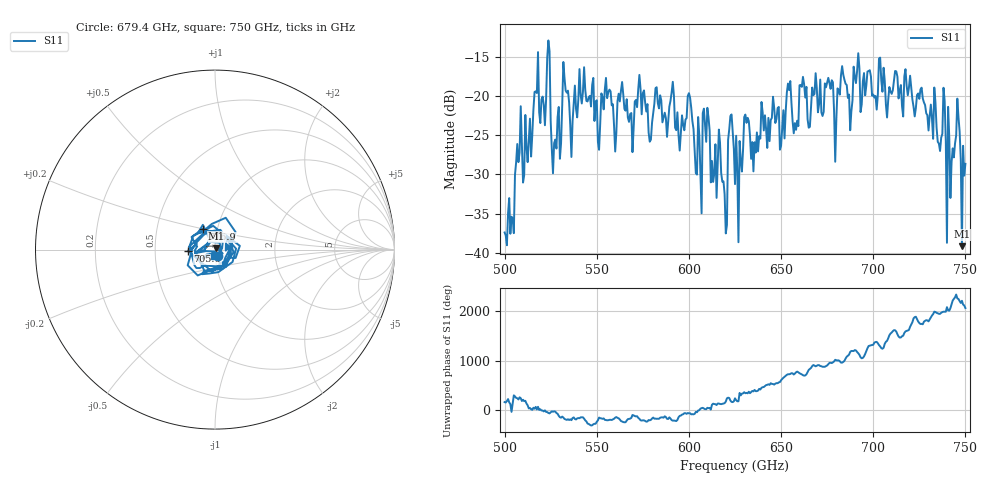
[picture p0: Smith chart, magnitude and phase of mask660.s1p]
!Created with skrf (http://scikit-rf.org).
# GHz S MA R 50.0
!freq magS11 angS11
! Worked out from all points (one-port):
!   401 points, 500 GHz to 750 GHz, reference 50 ohm
!   lowest |S11| = -39.1 dB at 748.1 GHz (marker M1), VSWR 1.02, Z = 50.7 + j0.847 ohm
!   |S11| at or under -10 dB: start of sweep to end of sweep
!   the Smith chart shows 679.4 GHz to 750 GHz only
!   S11 on the Smith chart (normalised r, x): 679.4 GHz: 1.04, -0.07; 705.6 GHz: 0.74, -0.01; 716.9 GHz: 0.85, +0.20; 750 GHz: 0.99, -0.07
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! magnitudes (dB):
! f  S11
! 500 GHz  -37.4
! 516.9 GHz  -19.4
! 523.8 GHz  -12.9
! 526.9 GHz  -26.0
! 531.2 GHz  -21.3
! 562.5 GHz  -20.7
! 579.4 GHz  -25.6
! 590.6 GHz  -19.5
! 593.8 GHz  -22.1
! 600.6 GHz  -20.2
! 605.6 GHz  -25.0
! 609.4 GHz  -25.8
! 619.4 GHz  -32.5
! 622.5 GHz  -22.5
! 625 GHz  -31.2
! 656.2 GHz  -23.2
! 679.4 GHz  -28.4
! 683.8 GHz  -17.3
! 687.5 GHz  -24.4
! 690.6 GHz  -18.4
! 705.6 GHz  -16.4
! 716.9 GHz  -17.5
! 718.8 GHz  -19.9
! 738.1 GHz  -19.0
! 741.2 GHz  -25.3
! 745.6 GHz  -20.3
! 748.1 GHz  -39.1
! 750 GHz  -28.6
